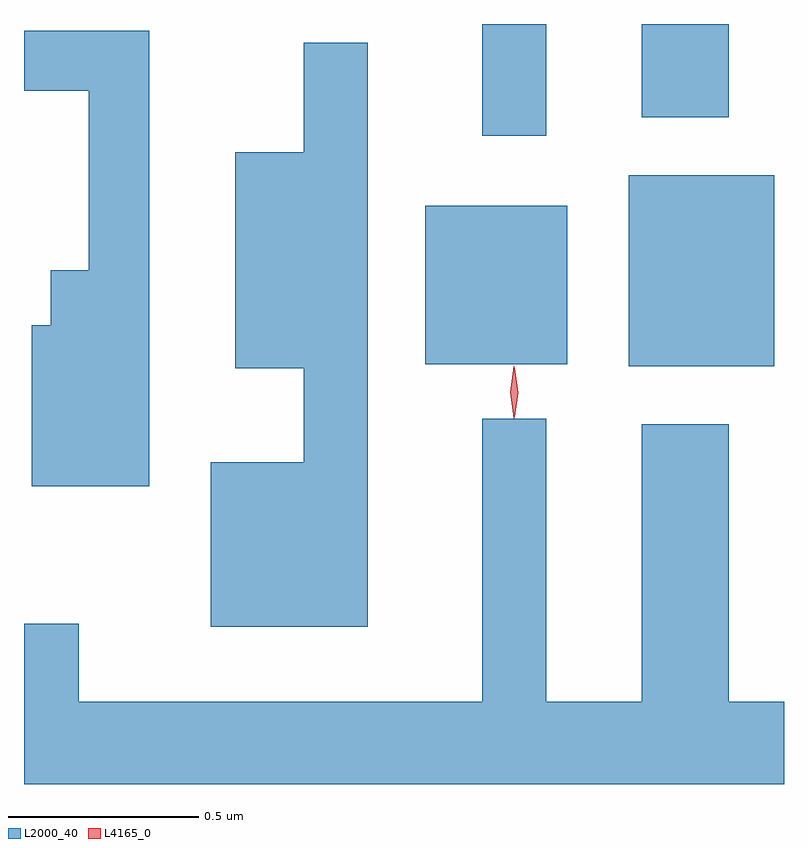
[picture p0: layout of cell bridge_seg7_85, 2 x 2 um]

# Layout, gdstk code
import gdstk
lib = gdstk.Library(unit=1e-6, precision=1e-09)
def R(c, l, rs):  # rectangles x0, y0, x1, y1
    for r in rs: c.add(gdstk.rectangle(r[:2], r[2:], *l))
def P(c, l, *ps):  # polygons
    for p in ps: c.add(gdstk.Polygon(p, *l))
L2000_40 = (2000, 40)
L4165_0 = (4165, 0)

bridge_seg7_85 = lib.new_cell('bridge_seg7_85')
R(bridge_seg7_85, L2000_40, [(1632.016,1773.186,1632.399,1773.689), (1631.481,1773.191,1631.854,1773.609), (1631.631,1773.793,1631.799,1774.087), (1632.051,1773.841,1632.279,1774.087)])
P(bridge_seg7_85, L2000_40, [(1630.754,1774.069),(1630.425,1774.069),(1630.425,1773.911),(1630.596,1773.911),(1630.596,1773.439),(1630.496,1773.439),(1630.496,1773.294),(1630.446,1773.294),(1630.446,1772.871),(1630.754,1772.871)],
  [(1631.329,1774.038),(1631.161,1774.038),(1631.161,1773.749),(1630.981,1773.749),(1630.981,1773.181),(1631.161,1773.181),(1631.161,1772.934),(1630.916,1772.934),(1630.916,1772.501),(1631.329,1772.501)],
  [(1632.425,1772.304),(1632.279,1772.304),(1632.279,1773.034),(1632.051,1773.034),(1632.051,1772.304),(1631.799,1772.304),(1631.799,1773.048),(1631.631,1773.048),(1631.631,1772.304),(1630.569,1772.304),(1630.569,1772.509),(1630.425,1772.509),(1630.425,1772.087),(1632.425,1772.087)])
P(bridge_seg7_85, L4165_0, [(1631.714,1773.05),(1631.714,1773.05),(1631.704,1773.118),(1631.714,1773.186),(1631.714,1773.186),(1631.715,1773.186),(1631.724,1773.118),(1631.715,1773.05)],
  [(1631.715,1773.053),(1631.715,1773.053),(1631.706,1773.117),(1631.716,1773.181),(1631.717,1773.182),(1631.717,1773.181),(1631.726,1773.117),(1631.716,1773.053)])

lib.write_gds('bridge_seg7_85.gds')
